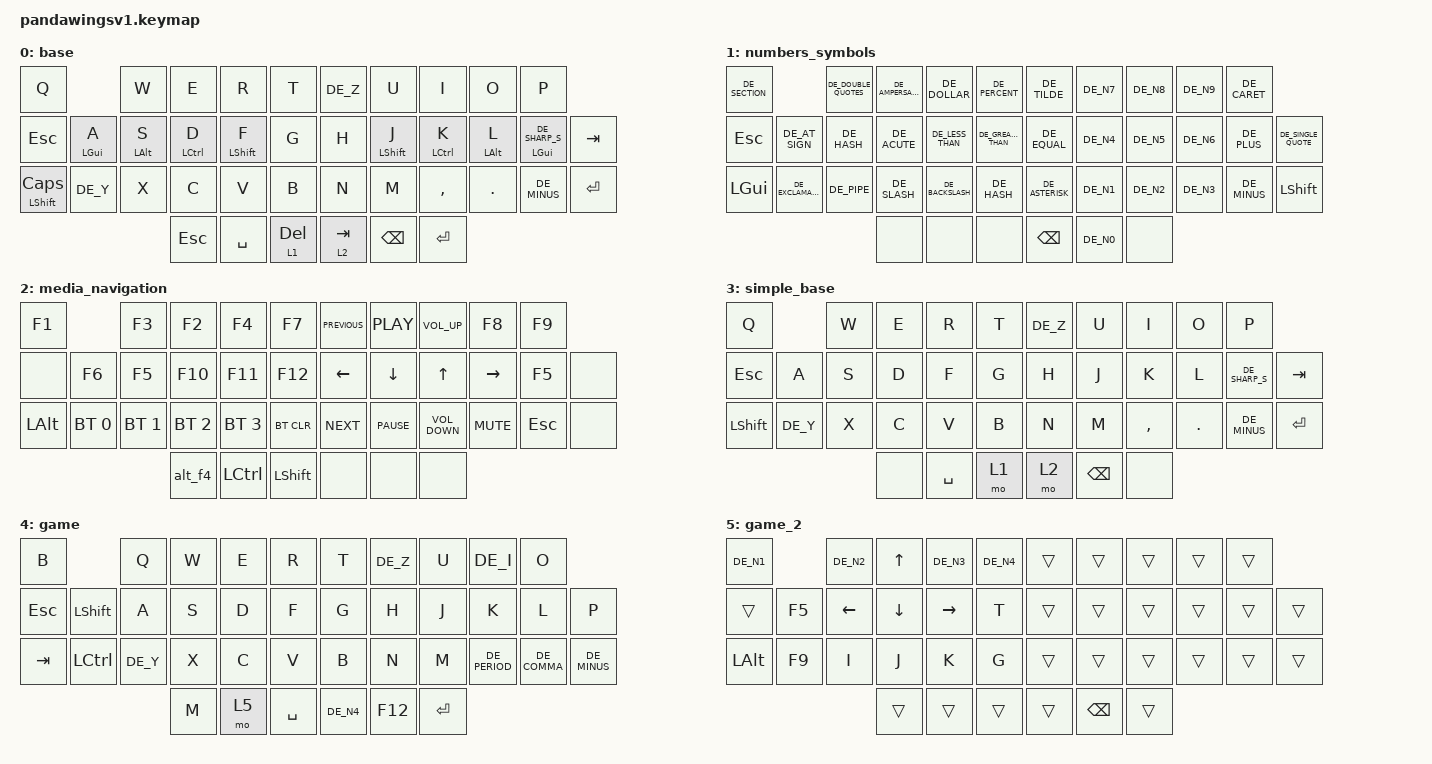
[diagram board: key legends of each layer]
#include "keys_de.h"
#include <behaviors.dtsi>
#include <dt-bindings/zmk/bt.h>
#include <dt-bindings/zmk/keys.h>

/ {
    combos {
        compatible = "zmk,combos";

        select_all {
            bindings = <&kp LC(A)>;
            key-positions = <23 24>;
            layers = <0 1 2>;
        };

        copy {
            bindings = <&kp LC(C)>;
            key-positions = <24 25>;
            layers = <0 1 2>;
        };

        paste {
            bindings = <&kp LC(V)>;
            key-positions = <25 26>;
            layers = <0 1 2>;
        };

        opening_parenthesis {
            bindings = <&kp DE_LEFT_PARENTHESIS>;
            key-positions = <13 14>;
            layers = <0 1>;
        };

        opening_bracket {
            bindings = <&kp DE_LEFT_BRACKET>;
            key-positions = <12 13>;
            layers = <0 1>;
        };

        opening_brace {
            bindings = <&kp DE_LEFT_BRACE>;
            key-positions = <12 14>;
            layers = <0 1>;
        };

        closing_parenthesis {
            bindings = <&kp DE_RIGHT_PARENTHESIS>;
            key-positions = <17 18>;
            layers = <0 1>;
        };

        closing_bracket {
            bindings = <&kp DE_RIGHT_BRACKET>;
            key-positions = <19 18>;
            layers = <0 1>;
        };

        closing_brace {
            bindings = <&kp DE_RIGHT_BRACE>;
            key-positions = <19 17>;
            layers = <0 1>;
        };

        umlaut_a {
            bindings = <&kp DE_A_UMLAUT>;
            key-positions = <29 30>;
            layers = <0>;
        };

        umlaut_o {
            bindings = <&kp DE_O_UMLAUT>;
            key-positions = <30 31>;
            layers = <0>;
        };

        umlaut_u {
            bindings = <&kp DE_U_UMLAUT>;
            key-positions = <29 31>;
            layers = <0>;
        };

        return {
            bindings = <&kp RETURN>;
            key-positions = <36 37>;
            layers = <0>;
        };

        home {
            bindings = <&kp HOME>;
            key-positions = <12 13 14>;
            layers = <0 1>;
        };

        end {
            bindings = <&kp END>;
            key-positions = <17 18 19>;
            layers = <0 1>;
        };

        undo {
            bindings = <&kp LC(DE_Z)>;
            key-positions = <15 16>;
        };

        redo {
            bindings = <&kp LS(LC(DE_Z))>;
            key-positions = <27 28>;
        };

        to_base {
            bindings = <&to 0>;
            key-positions = <35 36 37 38>;
            layers = <3 4 5>;
        };

        to_simple {
            bindings = <&to 5>;
            key-positions = <35 36 37 38>;
            layers = <0>;
        };

        to_game {
            bindings = <&to 4>;
            key-positions = <34 35 38 39>;
            layers = <0>;
        };
    };

    macros {
        ctrl_alt: ctrl_alt {
            compatible = "zmk,behavior-macro";
            #binding-cells = <0>;
            bindings = <&kp LC(LEFT_ALT)>;
            label = "CTRL_ALT";
        };

        alt_f4: alt_f4 {
            compatible = "zmk,behavior-macro";
            #binding-cells = <0>;
            bindings = <&kp LA(F4)>;
            label = "ALT_F4";
        };
    };

    keymap {
        compatible = "zmk,keymap";

        base {
            //        | SW2  | SW3  | SW4  | SW5  | SW6  |  | SW27 | SW26 | SW25 | SW24 | SW23 | 
            // | SW7  | SW8  | SW9  | SW10 | SW11 | SW12 |  | SW33 | SW32 | SW31 | SW30 | SW29 | SW34 |
            // | SW13 | SW14 | SW15 | SW16 | SW17 | SW18 |  | SW39 | SW38 | SW37 | SW36 | SW35 | SW28 |
            //                      | SW19 | SW20 | SW21 |  | SW42 | SW41 | SW40 |

            bindings = <
&kp Q                                &kp W           &kp E               &kp R             &kp T           &kp DE_Z   &kp U             &kp I               &kp O           &kp P
&kp ESC                  &mt LGUI A  &mt LEFT_ALT S  &mt LEFT_CONTROL D  &mt LEFT_SHIFT F  &kp G           &kp H      &mt LEFT_SHIFT J  &mt LEFT_CONTROL K  &mt LEFT_ALT L  &mt LGUI DE_SHARP_S  &kp TAB
&mt LEFT_SHIFT CAPSLOCK  &kp DE_Y    &kp X           &kp C               &kp V             &kp B           &kp N      &kp M             &kp COMMA           &kp DOT         &kp DE_MINUS         &kp RETURN
                                                     &kp ESCAPE          &kp SPACE         &lt 1 DELETE    &lt 2 TAB  &kp BACKSPACE     &kp RETURN
            >;
        };

        numbers_symbols {
            bindings = <
&kp DE_SECTION                      &kp DE_DOUBLE_QUOTES  &kp DE_AMPERSAND  &kp DE_DOLLAR     &kp DE_PERCENT         &kp DE_TILDE     &kp DE_N7  &kp DE_N8  &kp DE_N9  &kp DE_CARET
&kp ESCAPE      &kp DE_AT_SIGN      &kp DE_HASH           &kp DE_ACUTE      &kp DE_LESS_THAN  &kp DE_GREATER_THAN    &kp DE_EQUAL     &kp DE_N4  &kp DE_N5  &kp DE_N6  &kp DE_PLUS   &kp DE_SINGLE_QUOTE
&kp LEFT_GUI    &kp DE_EXCLAMATION  &kp DE_PIPE           &kp DE_SLASH      &kp DE_BACKSLASH  &kp DE_HASH            &kp DE_ASTERISK  &kp DE_N1  &kp DE_N2  &kp DE_N3  &kp DE_MINUS  &kp LEFT_SHIFT
                                                          &none             &none             &none                  &kp BACKSPACE    &kp DE_N0  &none
            >;
        };

        media_navigation {
            bindings = <
&kp F1                      &kp F3        &kp F2        &kp F4            &kp F7            &kp K_PREVIOUS  &kp C_PLAY   &kp C_VOLUME_UP    &kp F8      &kp F9
&none         &kp F6        &kp F5        &kp F10       &kp F11           &kp F12           &kp LEFT_ARROW  &kp DOWN     &kp UP_ARROW       &kp RIGHT   &kp F5      &none
&kp LEFT_ALT  &bt BT_SEL 0  &bt BT_SEL 1  &bt BT_SEL 2  &bt BT_SEL 3      &bt BT_CLR        &kp K_NEXT      &kp C_PAUSE  &kp C_VOLUME_DOWN  &kp K_MUTE  &kp ESCAPE  &none
                                          &alt_f4       &kp LEFT_CONTROL  &kp LEFT_SHIFT    &none           &none        &none
            >;
        };

        simple_base {
            bindings = <
&kp Q                     &kp W  &kp E  &kp R      &kp T    &kp DE_Z  &kp U          &kp I      &kp O    &kp P
&kp ESC         &kp A     &kp S  &kp D  &kp F      &kp G    &kp H     &kp J          &kp K      &kp L    &kp DE_SHARP_S  &kp TAB
&kp LEFT_SHIFT  &kp DE_Y  &kp X  &kp C  &kp V      &kp B    &kp N     &kp M          &kp COMMA  &kp DOT  &kp DE_MINUS    &kp RETURN
                                 &none  &kp SPACE  &mo 1    &mo 2     &kp BACKSPACE  &none
            >;
        };

        game {
            bindings = <
&kp B                       &kp Q     &kp W  &kp E  &kp R        &kp T      &kp DE_Z  &kp U       &kp DE_I       &kp O
&kp ESCAPE  &kp LEFT_SHIFT  &kp A     &kp S  &kp D  &kp F        &kp G      &kp H     &kp J       &kp K          &kp L         &kp P
&kp TAB     &kp LCTRL       &kp DE_Y  &kp X  &kp C  &kp V        &kp B      &kp N     &kp M       &kp DE_PERIOD  &kp DE_COMMA  &kp DE_MINUS
                                      &kp M  &mo 5  &kp SPACE    &kp DE_N4  &kp F12   &kp RETURN
            >;
        };

        game_2 {
            bindings = <
&kp DE_N1             &kp DE_N2       &kp UP_ARROW    &kp DE_N3        &kp DE_N4    &trans  &trans         &trans  &trans  &trans
&trans        &kp F5  &kp LEFT_ARROW  &kp DOWN_ARROW  &kp RIGHT_ARROW  &kp T        &trans  &trans         &trans  &trans  &trans  &trans
&kp LEFT_ALT  &kp F9  &kp I           &kp J           &kp K            &kp G        &trans  &trans         &trans  &trans  &trans  &trans
                                      &trans          &trans           &trans       &trans  &kp BACKSPACE  &trans
            >;
        };
    };
};

